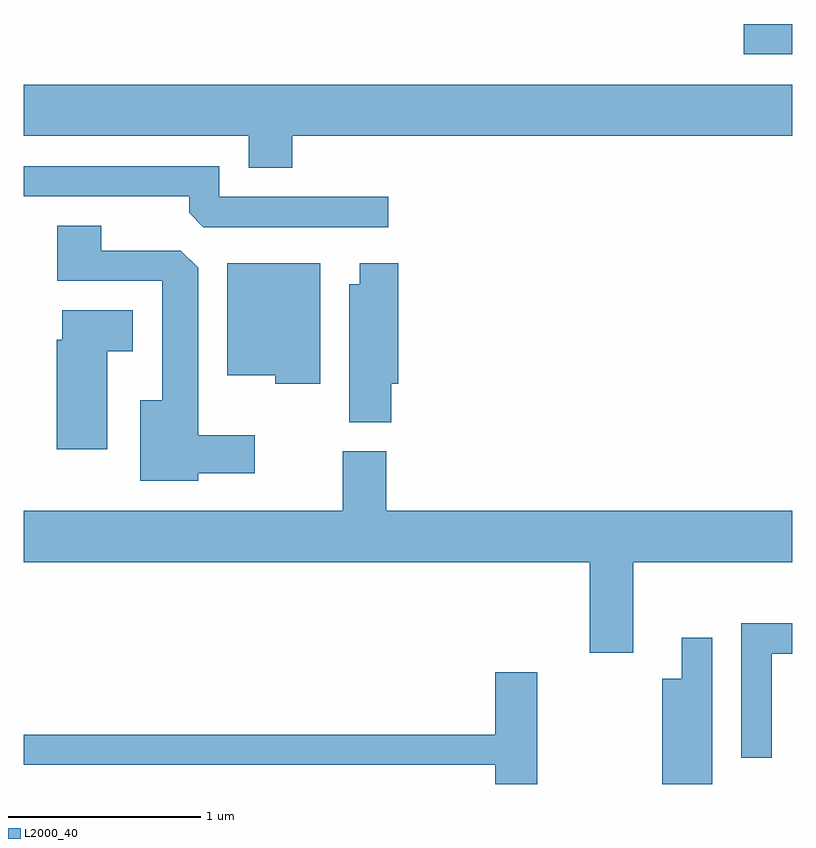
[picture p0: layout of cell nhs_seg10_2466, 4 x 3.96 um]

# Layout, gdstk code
import gdstk
lib = gdstk.Library(unit=1e-6, precision=1e-09)
def R(c, l, rs):  # rectangles x0, y0, x1, y1
    for r in rs: c.add(gdstk.rectangle(r[:2], r[2:], *l))
def P(c, l, *ps):  # polygons
    for p in ps: c.add(gdstk.Polygon(p, *l))
L2000_40 = (2000, 40)

nhs_seg10_2466 = lib.new_cell('nhs_seg10_2466')
R(nhs_seg10_2466, L2000_40, [(261.358,2134.321,261.611,2134.479)])
P(nhs_seg10_2466, L2000_40, [(259.009,2133.896),(261.611,2133.896),(261.611,2134.164),(257.611,2134.164),(257.611,2133.896),(258.781,2133.896),(258.781,2133.731),(259.009,2133.731)],
  [(259.508,2133.579),(258.629,2133.579),(258.629,2133.739),(257.611,2133.739),(257.611,2133.581),(258.471,2133.581),(258.471,2133.497),(258.546,2133.421),(259.508,2133.421)],
  [(258.519,2132.141),(258.814,2132.141),(258.814,2132.339),(258.519,2132.339),(258.519,2133.209),(258.429,2133.299),(258.014,2133.299),(258.014,2133.429),(257.786,2133.429),(257.786,2133.141),(258.331,2133.141),(258.331,2132.519),(258.216,2132.519),(258.216,2132.101),(258.519,2132.101)],
  [(259.154,2133.234),(258.671,2133.234),(258.671,2132.651),(258.921,2132.651),(258.921,2132.606),(259.154,2132.606)],
  [(259.524,2132.606),(259.559,2132.606),(259.559,2133.234),(259.361,2133.234),(259.361,2133.124),(259.306,2133.124),(259.306,2132.406),(259.524,2132.406)],
  [(258.044,2132.776),(258.179,2132.776),(258.179,2132.989),(257.811,2132.989),(257.811,2132.834),(257.781,2132.834),(257.781,2132.266),(258.044,2132.266)],
  [(260.784,2131.676),(261.611,2131.676),(261.611,2131.944),(259.499,2131.944),(259.499,2132.254),(259.271,2132.254),(259.271,2131.944),(257.611,2131.944),(257.611,2131.676),(260.556,2131.676),(260.556,2131.206),(260.784,2131.206)],
  [(261.504,2131.201),(261.611,2131.201),(261.611,2131.359),(261.346,2131.359),(261.346,2130.658),(261.504,2130.658)],
  [(261.194,2131.283),(261.036,2131.283),(261.036,2131.069),(260.936,2131.069),(260.936,2130.522),(261.194,2130.522)],
  [(260.284,2131.104),(260.066,2131.104),(260.066,2130.779),(257.611,2130.779),(257.611,2130.621),(260.066,2130.621),(260.066,2130.522),(260.284,2130.522)])

lib.write_gds('nhs_seg10_2466.gds')
